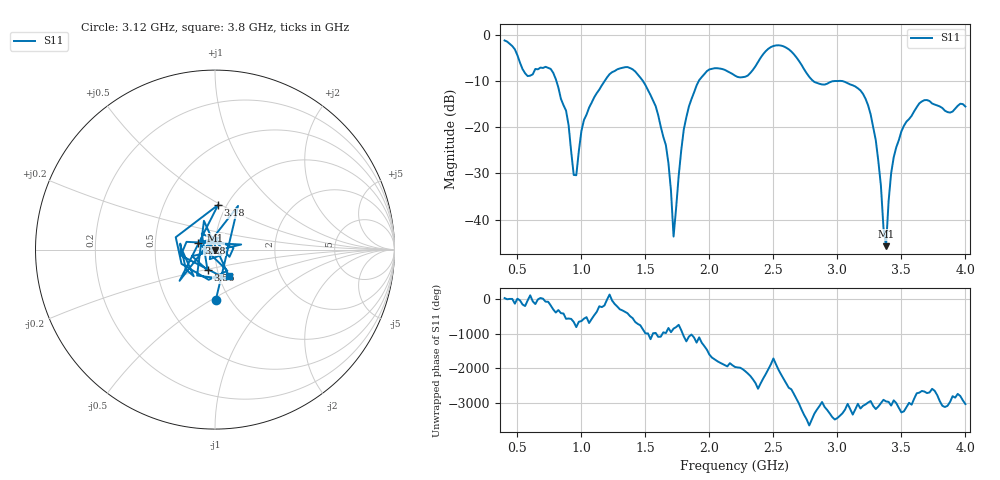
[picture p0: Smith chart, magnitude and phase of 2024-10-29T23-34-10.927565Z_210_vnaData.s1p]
!Created with skrf (http://scikit-rf.org).
# Hz S RI R 50.0
!freq ReS11 ImS11
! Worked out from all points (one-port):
!   181 points, 400 MHz to 4 GHz, reference 50 ohm
!   lowest |S11| = -45.7 dB at 3.38 GHz (marker M1), VSWR 1.01, Z = 50.2 - j0.49 ohm
!   |S11| at or under -10 dB: 804.2 MHz to 1.182 GHz (377.9 MHz wide, 38.1 % of centre); 1.48 GHz to 1.917 GHz (437 MHz wide, 25.7 % of centre); 3.025 GHz to end of sweep (the widest 3 of 4)
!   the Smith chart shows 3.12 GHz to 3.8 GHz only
!   S11 on the Smith chart (normalised r, x): 3.12 GHz: 0.86, -0.53; 3.18 GHz: 0.91, +0.48; 3.28 GHz: 0.83, +0.07; 3.56 GHz: 0.90, -0.21; 3.8 GHz: 1.11, -0.34
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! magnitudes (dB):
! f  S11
! 400 MHz  -1.3
! 580 MHz  -9.0
! 760 MHz  -7.4
! 860 MHz  -15.2
! 940 MHz  -30.3
! 960 MHz  -30.4
! 1.02 GHz  -18.5
! 1.3 GHz  -7.3
! 1.58 GHz  -15.4
! 1.68 GHz  -27.8
! 1.72 GHz  -43.6
! 1.76 GHz  -30.6
! 1.82 GHz  -17.8
! 1.92 GHz  -9.8
! 2.2 GHz  -8.9
! 2.5 GHz  -2.5
! 2.66 GHz  -4.2
! 2.82 GHz  -10.2
! 3.1 GHz  -10.8
! 3.12 GHz  -10.9
! 3.18 GHz  -12.1
! 3.28 GHz  -20.0
! 3.38 GHz  -45.7
! 3.4 GHz  -36.0
! 3.44 GHz  -26.5
! 3.56 GHz  -18.2
! 3.8 GHz  -15.5
! 4 GHz  -15.5
